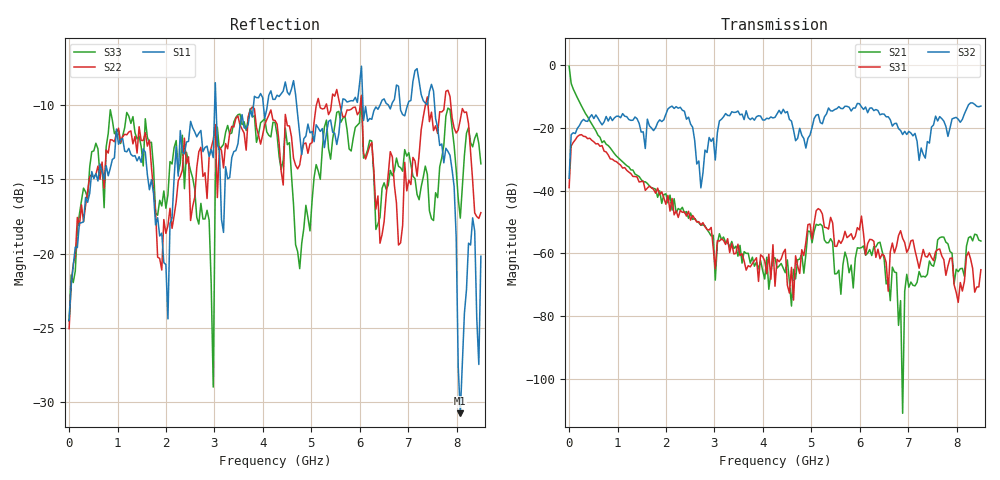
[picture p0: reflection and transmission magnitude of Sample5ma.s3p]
! Created Wed Jan 26 16:48:40 2011
# hz S ma R 50
! 3 Port Network Data from SP1.SP block
! freq  magS11  angS11  magS12  angS12  magS13  angS13
!  magS21  angS21
!  magS22  angS22  magS23  angS23
!  magS31  angS31  magS32  angS32
!  magS33  angS33
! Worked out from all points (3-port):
!   201 points, 100 kHz to 8.5 GHz, reference 50 ohm
!   strongest paths, dB at 100 kHz, 2.125 GHz, 4.25 GHz, 6.375 GHz, 8.5 GHz:
!     S32: -36.1, -13.1, -16.7, -14.5, -13.1
!     S31: -39.1, -42.5, -70.5, -58.7, -65.2
!     S21: -0.4, -46.2, -61.4, -56.7, -56.1
!   lowest |S11| = -30.8 dB at 8.075 GHz (marker M1), VSWR 1.06, Z = 49.6 + j2.85 ohm
!   |S11| at or under -10 dB: start of sweep to 3.005 GHz; 4.698 GHz to 5.633 GHz (935.4 MHz wide, 18.1 % of centre); 7.544 GHz to end of sweep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
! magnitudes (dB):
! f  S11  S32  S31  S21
! 100 kHz  -24.5  -36.1  -39.1  -0.4
! 425.1 MHz  -15.9  -16.7  -23.3  -17.7
! 3.018 GHz  -8.5  -30.3  -64.9  -68.5
! 4.25 GHz  -9.6  -16.7  -70.5  -61.4
! 4.59 GHz  -8.9  -17.9  -64.5  -76.8
! 5.143 GHz  -11.5  -15.8  -45.8  -51.1
! 6.588 GHz  -10.0  -16.5  -72.1  -67.9
! 6.885 GHz  -10.6  -22.2  -55.2  -110.9
! 8.075 GHz  -30.8  -18.3  -69.3  -64.9
! 8.5 GHz  -20.2  -13.1  -65.2  -56.1
